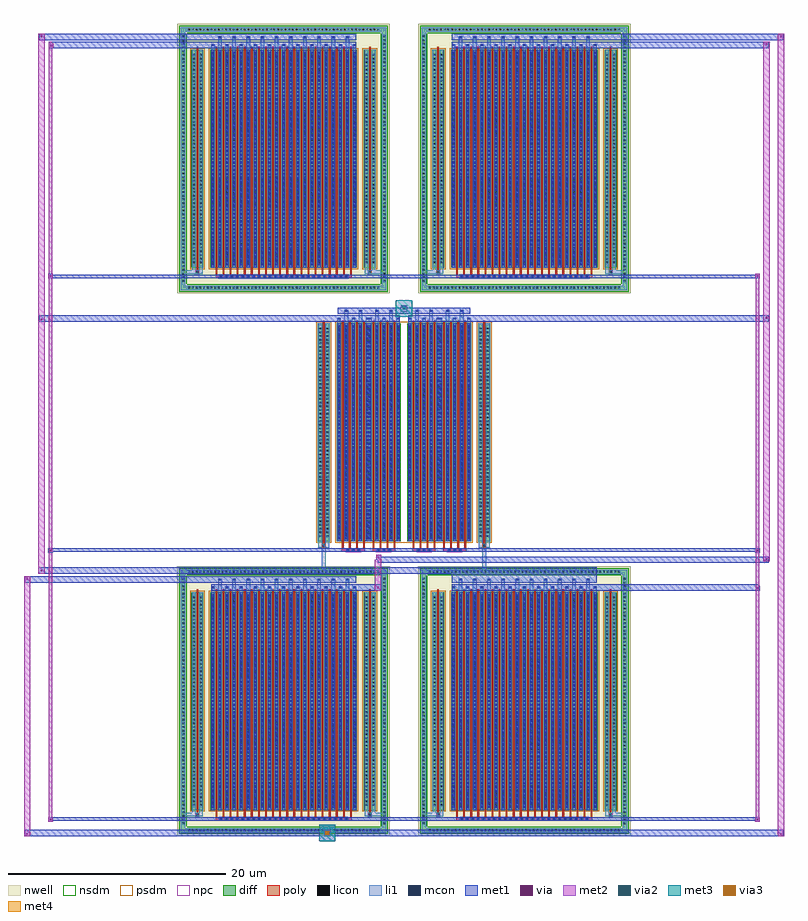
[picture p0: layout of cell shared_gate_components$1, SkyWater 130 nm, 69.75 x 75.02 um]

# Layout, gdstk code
import gdstk
lib = gdstk.Library(unit=1e-6, precision=5e-09)
def R(c, l, rs):  # rectangles x0, y0, x1, y1
    for r in rs: c.add(gdstk.rectangle(r[:2], r[2:], *l))
def A(c, l, x, y, w, h, nx, ny, dx, dy):  # array of equal rectangles
    R(c, l, [(x+i*dx, y+j*dy, x+i*dx+w, y+j*dy+h) for i in range(nx) for j in range(ny)])
def P(c, l, *ps):  # polygons
    for p in ps: c.add(gdstk.Polygon(p, *l))
nwell = (64, 20)
diff = (65, 20)
poly = (66, 20)
licon = (66, 44)
li1 = (67, 20)
mcon = (67, 44)
met1 = (68, 20)
via = (68, 44)
met2 = (69, 20)
via2 = (69, 44)
met3 = (70, 20)
via3 = (70, 44)
met4 = (71, 20)
nsdm = (93, 44)
psdm = (94, 20)
npc = (95, 20)

multiplier_ffe6fe89 = lib.new_cell('multiplier_ffe6fe89')
R(multiplier_ffe6fe89, diff, [(-3.265,-10,-2.165,10), (-1.525,-10,1.525,10)])
A(multiplier_ffe6fe89, poly, -0.665, -10.98, 0.33, 0.33, 3, 1, 0.5, 0)
A(multiplier_ffe6fe89, poly, -1.05, -10.65, 0.15, 0.4, 4, 1, 0.65, 0)
A(multiplier_ffe6fe89, poly, -1.05, -10.25, 0.15, 20.5, 4, 1, 0.65, 0)
R(multiplier_ffe6fe89, poly, [(-1.05,-10.98,1.05,-10.65), (-2.88,-10.58,-2.55,-10.25), (-2.88,-10.58,-2.55,-10.25), (-2.79,-10.25,-2.64,10.25)])
A(multiplier_ffe6fe89, licon, -0.585, -10.9, 0.17, 0.17, 3, 1, 0.5, 0)
A(multiplier_ffe6fe89, licon, -3.125, -9.605, 0.17, 0.17, 1, 57, 0, 0.34)
A(multiplier_ffe6fe89, licon, -2.475, -9.605, 0.17, 0.17, 1, 57, 0, 0.34)
A(multiplier_ffe6fe89, licon, -1.385, -9.605, 0.17, 0.17, 5, 57, 0.65, 0.34)
R(multiplier_ffe6fe89, licon, [(-2.8,-10.5,-2.63,-10.33)])
A(multiplier_ffe6fe89, li1, -0.665, -10.98, 0.33, 0.33, 3, 1, 0.5, 0)
A(multiplier_ffe6fe89, li1, -1.465, -10, 0.33, 20, 5, 1, 0.65, 0)
A(multiplier_ffe6fe89, li1, -1.385, -9.805, 0.17, 0.17, 5, 55, 0.65, 0.36)
A(multiplier_ffe6fe89, li1, -1.385, -9.805, 0.17, 19.61, 5, 1, 0.65, 0)
A(multiplier_ffe6fe89, li1, -3.205, -9.685, 0.33, 0.33, 1, 57, 0, 0.34)
A(multiplier_ffe6fe89, li1, -2.555, -9.685, 0.33, 0.33, 1, 57, 0, 0.34)
A(multiplier_ffe6fe89, li1, -1.465, -9.685, 0.33, 0.33, 5, 57, 0.65, 0.34)
A(multiplier_ffe6fe89, li1, -1.465, 10, 0.33, 0.52, 3, 1, 1.3, 0)
A(multiplier_ffe6fe89, li1, -1.385, 10.35, 0.17, 0.17, 3, 1, 1.3, 0)
R(multiplier_ffe6fe89, li1, [(-3.205,-10.58,-2.88,-10.25), (-3.205,-10.58,-2.875,-10), (-2.88,-10.58,-2.55,-10.25), (-2.555,-10.58,-2.225,-10), (-2.55,-10.58,-2.225,-10.25), (-3.205,-10,-2.875,10), (-2.555,-10,-2.225,10), (-0.815,10,-0.485,11.24), (0.485,10,0.815,11.24), (-0.735,11.07,-0.565,11.24), (0.565,11.07,0.735,11.24)])
A(multiplier_ffe6fe89, mcon, -0.585, -10.9, 0.17, 0.17, 3, 1, 0.5, 0)
A(multiplier_ffe6fe89, mcon, -1.385, -9.805, 0.17, 0.17, 5, 55, 0.65, 0.36)
A(multiplier_ffe6fe89, mcon, -1.385, 10.35, 0.17, 0.17, 3, 1, 1.3, 0)
R(multiplier_ffe6fe89, mcon, [(-0.735,11.07,-0.565,11.24), (0.565,11.07,0.735,11.24)])
A(multiplier_ffe6fe89, met1, -0.645, -10.96, 0.29, 0.29, 3, 1, 0.5, 0)
A(multiplier_ffe6fe89, met1, -1.445, -10, 0.29, 20, 5, 1, 0.65, 0)
A(multiplier_ffe6fe89, met1, -1.445, -9.865, 0.29, 0.29, 5, 55, 0.65, 0.36)
A(multiplier_ffe6fe89, met1, -1.445, 10.29, 0.29, 0.29, 3, 1, 1.3, 0)
R(multiplier_ffe6fe89, met1, [(-1.05,-10.98,1.05,-10.65), (-1.445,10.145,1.445,10.725), (-1.445,10.865,1.445,11.445), (-0.795,11.01,-0.505,11.3), (0.505,11.01,0.795,11.3)])
R(multiplier_ffe6fe89, psdm, [(-3.395,-10.13,-2.035,10.13), (-1.655,-10.13,1.655,10.13)])
A(multiplier_ffe6fe89, npc, -0.685, -11, 0.37, 0.37, 3, 1, 0.5, 0)
R(multiplier_ffe6fe89, npc, [(-0.685,-11,0.185,-10.63), (-0.685,-11,0.185,-10.63), (-0.185,-11,0.685,-10.63), (-0.185,-11,0.685,-10.63), (-2.9,-10.6,-2.53,-10.23)])

multiplier_37b5ae58 = lib.new_cell('multiplier_37b5ae58')
R(multiplier_37b5ae58, diff, [(-1.525,-10,1.525,10)])
A(multiplier_37b5ae58, poly, -0.665, -10.98, 0.33, 0.33, 3, 1, 0.5, 0)
A(multiplier_37b5ae58, poly, -1.05, -10.65, 0.15, 0.4, 4, 1, 0.65, 0)
A(multiplier_37b5ae58, poly, -1.05, -10.25, 0.15, 20.5, 4, 1, 0.65, 0)
R(multiplier_37b5ae58, poly, [(-1.05,-10.98,1.05,-10.65)])
A(multiplier_37b5ae58, licon, -0.585, -10.9, 0.17, 0.17, 3, 1, 0.5, 0)
A(multiplier_37b5ae58, licon, -1.385, -9.605, 0.17, 0.17, 5, 57, 0.65, 0.34)
A(multiplier_37b5ae58, li1, -0.665, -10.98, 0.33, 0.33, 3, 1, 0.5, 0)
A(multiplier_37b5ae58, li1, -1.465, -10, 0.33, 20, 5, 1, 0.65, 0)
A(multiplier_37b5ae58, li1, -1.385, -9.805, 0.17, 0.17, 5, 55, 0.65, 0.36)
A(multiplier_37b5ae58, li1, -1.385, -9.805, 0.17, 19.61, 5, 1, 0.65, 0)
A(multiplier_37b5ae58, li1, -1.465, -9.685, 0.33, 0.33, 5, 57, 0.65, 0.34)
A(multiplier_37b5ae58, li1, -1.465, 10, 0.33, 0.52, 3, 1, 1.3, 0)
A(multiplier_37b5ae58, li1, -1.385, 10.35, 0.17, 0.17, 3, 1, 1.3, 0)
R(multiplier_37b5ae58, li1, [(-0.815,10,-0.485,11.24), (0.485,10,0.815,11.24), (-0.735,11.07,-0.565,11.24), (0.565,11.07,0.735,11.24)])
A(multiplier_37b5ae58, mcon, -0.585, -10.9, 0.17, 0.17, 3, 1, 0.5, 0)
A(multiplier_37b5ae58, mcon, -1.385, -9.805, 0.17, 0.17, 5, 55, 0.65, 0.36)
A(multiplier_37b5ae58, mcon, -1.385, 10.35, 0.17, 0.17, 3, 1, 1.3, 0)
R(multiplier_37b5ae58, mcon, [(-0.735,11.07,-0.565,11.24), (0.565,11.07,0.735,11.24)])
A(multiplier_37b5ae58, met1, -0.645, -10.96, 0.29, 0.29, 3, 1, 0.5, 0)
A(multiplier_37b5ae58, met1, -1.445, -10, 0.29, 20, 5, 1, 0.65, 0)
A(multiplier_37b5ae58, met1, -1.445, -9.865, 0.29, 0.29, 5, 55, 0.65, 0.36)
A(multiplier_37b5ae58, met1, -1.445, 10.29, 0.29, 0.29, 3, 1, 1.3, 0)
R(multiplier_37b5ae58, met1, [(-1.05,-10.98,1.05,-10.65), (-1.445,10.145,1.445,10.725), (-1.445,10.865,1.445,11.445), (-0.795,11.01,-0.505,11.3), (0.505,11.01,0.795,11.3)])
R(multiplier_37b5ae58, psdm, [(-1.655,-10.13,1.655,10.13)])
A(multiplier_37b5ae58, npc, -0.685, -11, 0.37, 0.37, 3, 1, 0.5, 0)
R(multiplier_37b5ae58, npc, [(-0.685,-11,0.185,-10.63), (-0.685,-11,0.185,-10.63), (-0.185,-11,0.685,-10.63), (-0.185,-11,0.685,-10.63)])

multiplier_abaa748f = lib.new_cell('multiplier_abaa748f')
R(multiplier_abaa748f, diff, [(-1.525,-10,1.525,10), (2.165,-10,3.265,10)])
A(multiplier_abaa748f, poly, -0.665, -10.98, 0.33, 0.33, 3, 1, 0.5, 0)
A(multiplier_abaa748f, poly, -1.05, -10.65, 0.15, 0.4, 4, 1, 0.65, 0)
A(multiplier_abaa748f, poly, -1.05, -10.25, 0.15, 20.5, 4, 1, 0.65, 0)
R(multiplier_abaa748f, poly, [(-1.05,-10.98,1.05,-10.65), (2.55,-10.58,2.88,-10.25), (2.55,-10.58,2.88,-10.25), (2.64,-10.25,2.79,10.25)])
A(multiplier_abaa748f, licon, -0.585, -10.9, 0.17, 0.17, 3, 1, 0.5, 0)
A(multiplier_abaa748f, licon, -1.385, -9.605, 0.17, 0.17, 5, 57, 0.65, 0.34)
A(multiplier_abaa748f, licon, 2.305, -9.605, 0.17, 0.17, 1, 57, 0, 0.34)
A(multiplier_abaa748f, licon, 2.955, -9.605, 0.17, 0.17, 1, 57, 0, 0.34)
R(multiplier_abaa748f, licon, [(2.63,-10.5,2.8,-10.33)])
A(multiplier_abaa748f, li1, -0.665, -10.98, 0.33, 0.33, 3, 1, 0.5, 0)
A(multiplier_abaa748f, li1, -1.465, -10, 0.33, 20, 5, 1, 0.65, 0)
A(multiplier_abaa748f, li1, -1.385, -9.805, 0.17, 0.17, 5, 55, 0.65, 0.36)
A(multiplier_abaa748f, li1, -1.385, -9.805, 0.17, 19.61, 5, 1, 0.65, 0)
A(multiplier_abaa748f, li1, -1.465, -9.685, 0.33, 0.33, 5, 57, 0.65, 0.34)
A(multiplier_abaa748f, li1, 2.225, -9.685, 0.33, 0.33, 1, 57, 0, 0.34)
A(multiplier_abaa748f, li1, 2.875, -9.685, 0.33, 0.33, 1, 57, 0, 0.34)
A(multiplier_abaa748f, li1, -1.465, 10, 0.33, 0.52, 3, 1, 1.3, 0)
A(multiplier_abaa748f, li1, -1.385, 10.35, 0.17, 0.17, 3, 1, 1.3, 0)
R(multiplier_abaa748f, li1, [(2.225,-10.58,2.55,-10.25), (2.225,-10.58,2.555,-10), (2.55,-10.58,2.88,-10.25), (2.875,-10.58,3.205,-10), (2.88,-10.58,3.205,-10.25), (2.225,-10,2.555,10), (2.875,-10,3.205,10), (-0.815,10,-0.485,11.24), (0.485,10,0.815,11.24), (-0.735,11.07,-0.565,11.24), (0.565,11.07,0.735,11.24)])
A(multiplier_abaa748f, mcon, -0.585, -10.9, 0.17, 0.17, 3, 1, 0.5, 0)
A(multiplier_abaa748f, mcon, -1.385, -9.805, 0.17, 0.17, 5, 55, 0.65, 0.36)
A(multiplier_abaa748f, mcon, -1.385, 10.35, 0.17, 0.17, 3, 1, 1.3, 0)
R(multiplier_abaa748f, mcon, [(-0.735,11.07,-0.565,11.24), (0.565,11.07,0.735,11.24)])
A(multiplier_abaa748f, met1, -0.645, -10.96, 0.29, 0.29, 3, 1, 0.5, 0)
A(multiplier_abaa748f, met1, -1.445, -10, 0.29, 20, 5, 1, 0.65, 0)
A(multiplier_abaa748f, met1, -1.445, -9.865, 0.29, 0.29, 5, 55, 0.65, 0.36)
A(multiplier_abaa748f, met1, -1.445, 10.29, 0.29, 0.29, 3, 1, 1.3, 0)
R(multiplier_abaa748f, met1, [(-1.05,-10.98,1.05,-10.65), (-1.445,10.145,1.445,10.725), (-1.445,10.865,1.445,11.445), (-0.795,11.01,-0.505,11.3), (0.505,11.01,0.795,11.3)])
R(multiplier_abaa748f, psdm, [(-1.655,-10.13,1.655,10.13), (2.035,-10.13,3.395,10.13)])
A(multiplier_abaa748f, npc, -0.685, -11, 0.37, 0.37, 3, 1, 0.5, 0)
R(multiplier_abaa748f, npc, [(-0.685,-11,0.185,-10.63), (-0.685,-11,0.185,-10.63), (-0.185,-11,0.685,-10.63), (-0.185,-11,0.685,-10.63), (2.53,-10.6,2.9,-10.23)])

unnamed_dc097152_1 = lib.new_cell('Unnamed_dc097152$1')
A(unnamed_dc097152_1, diff, -8.875, -12.065, 0.41, 0.41, 52, 2, 0.34, 23.72)
A(unnamed_dc097152_1, diff, -9.435, -11.425, 0.41, 0.41, 1, 67, 0, 0.34)
A(unnamed_dc097152_1, diff, 9.025, -11.425, 0.41, 0.41, 1, 67, 0, 0.34)
R(unnamed_dc097152_1, diff, [(-8.875,-12.065,8.875,-11.655), (-9.435,-11.425,-9.025,11.425), (9.025,-11.425,9.435,11.425), (-8.875,11.655,8.875,12.065)])
P(unnamed_dc097152_1, diff, [(9.435,12.065),(-9.435,12.065),(-9.435,-11.655),(-9.025,-11.655),(-9.025,11.655),(9.025,11.655),(9.025,-11.655),(-9.025,-11.655),(-9.435,-11.655),(-9.435,-12.065),(9.435,-12.065)])
A(unnamed_dc097152_1, licon, -8.755, -11.945, 0.17, 0.17, 52, 2, 0.34, 23.72)
A(unnamed_dc097152_1, licon, -9.315, -11.305, 0.17, 0.17, 1, 67, 0, 0.34)
A(unnamed_dc097152_1, licon, 9.145, -11.305, 0.17, 0.17, 1, 67, 0, 0.34)
A(unnamed_dc097152_1, li1, -8.835, -12.025, 0.33, 0.33, 52, 2, 0.34, 23.72)
A(unnamed_dc097152_1, li1, -9.395, -11.385, 0.33, 0.33, 1, 67, 0, 0.34)
A(unnamed_dc097152_1, li1, 9.065, -11.385, 0.33, 0.33, 1, 67, 0, 0.34)
R(unnamed_dc097152_1, li1, [(-9.435,-12.065,-9.025,-11.655), (-9.435,-12.065,-9.025,-11.655), (-9.025,-12.065,9.025,-11.655), (9.025,-12.065,9.435,-11.655), (9.025,-12.065,9.435,-11.655), (-9.435,-11.655,-9.025,11.655), (9.025,-11.655,9.435,11.655), (-9.435,11.655,-9.025,12.065), (-9.435,11.655,-9.025,12.065), (-9.025,11.655,9.025,12.065), (9.025,11.655,9.435,12.065), (9.025,11.655,9.435,12.065)])
P(unnamed_dc097152_1, nsdm, [(9.565,12.195),(-9.565,12.195),(-9.565,-11.525),(-8.895,-11.525),(-8.895,11.525),(8.895,11.525),(8.895,-11.525),(-8.895,-11.525),(-9.565,-11.525),(-9.565,-12.195),(9.565,-12.195)])

straight_route_e0b49398 = lib.new_cell('straight_route_e0b49398')
R(straight_route_e0b49398, li1, [(-9.435,-10.58,-8.08,-10.25)])

straight_route_27911fb7 = lib.new_cell('straight_route_27911fb7')
R(straight_route_27911fb7, li1, [(7.75,-10.58,9.435,-10.25)])

unnamed_4ddcab3e = lib.new_cell('Unnamed_4ddcab3e')
R(unnamed_4ddcab3e, nwell, [(-9.745,-12.375,9.745,12.375)])
R(unnamed_4ddcab3e, diff, [(-8.465,-10,-7.365,10), (-6.725,-10,6.725,10), (7.365,-10,8.465,10)])
A(unnamed_4ddcab3e, poly, -5.915, -10.98, 0.33, 0.33, 24, 1, 0.5, 0)
A(unnamed_4ddcab3e, poly, -6.25, -10.65, 0.15, 0.4, 20, 1, 0.65, 0)
A(unnamed_4ddcab3e, poly, -6.25, -10.25, 0.15, 20.5, 20, 1, 0.65, 0)
R(unnamed_4ddcab3e, poly, [(-6.25,-10.98,6.25,-10.65), (-8.08,-10.58,-7.75,-10.25), (-8.08,-10.58,-7.75,-10.25), (7.75,-10.58,8.08,-10.25), (7.75,-10.58,8.08,-10.25), (-7.99,-10.25,-7.84,10.25), (7.84,-10.25,7.99,10.25)])
A(unnamed_4ddcab3e, licon, -5.835, -10.9, 0.17, 0.17, 24, 1, 0.5, 0)
A(unnamed_4ddcab3e, licon, -8.325, -9.605, 0.17, 0.17, 1, 57, 0, 0.34)
A(unnamed_4ddcab3e, licon, -7.675, -9.605, 0.17, 0.17, 1, 57, 0, 0.34)
A(unnamed_4ddcab3e, licon, -6.585, -9.605, 0.17, 0.17, 21, 57, 0.65, 0.34)
A(unnamed_4ddcab3e, licon, 7.505, -9.605, 0.17, 0.17, 1, 57, 0, 0.34)
A(unnamed_4ddcab3e, licon, 8.155, -9.605, 0.17, 0.17, 1, 57, 0, 0.34)
R(unnamed_4ddcab3e, licon, [(-8,-10.5,-7.83,-10.33), (7.83,-10.5,8,-10.33)])
A(unnamed_4ddcab3e, li1, -5.915, -10.98, 0.33, 0.33, 24, 1, 0.5, 0)
A(unnamed_4ddcab3e, li1, -6.665, -10, 0.33, 20, 21, 1, 0.65, 0)
A(unnamed_4ddcab3e, li1, -6.585, -9.805, 0.17, 0.17, 21, 55, 0.65, 0.36)
A(unnamed_4ddcab3e, li1, -6.585, -9.805, 0.17, 19.61, 21, 1, 0.65, 0)
A(unnamed_4ddcab3e, li1, -8.405, -9.685, 0.33, 0.33, 1, 57, 0, 0.34)
A(unnamed_4ddcab3e, li1, -7.755, -9.685, 0.33, 0.33, 1, 57, 0, 0.34)
A(unnamed_4ddcab3e, li1, -6.665, -9.685, 0.33, 0.33, 21, 57, 0.65, 0.34)
A(unnamed_4ddcab3e, li1, 7.425, -9.685, 0.33, 0.33, 1, 57, 0, 0.34)
A(unnamed_4ddcab3e, li1, 8.075, -9.685, 0.33, 0.33, 1, 57, 0, 0.34)
A(unnamed_4ddcab3e, li1, -6.665, 10, 0.33, 0.52, 11, 1, 1.3, 0)
A(unnamed_4ddcab3e, li1, -6.015, 10, 0.33, 1.24, 10, 1, 1.3, 0)
A(unnamed_4ddcab3e, li1, -6.585, 10.35, 0.17, 0.17, 11, 1, 1.3, 0)
A(unnamed_4ddcab3e, li1, -5.935, 11.07, 0.17, 0.17, 10, 1, 1.3, 0)
R(unnamed_4ddcab3e, li1, [(-8.405,-10.58,-8.08,-10.25), (-8.405,-10.58,-8.075,-10), (-8.08,-10.58,-7.75,-10.25), (-7.755,-10.58,-7.425,-10), (-7.75,-10.58,-7.425,-10.25), (7.425,-10.58,7.75,-10.25), (7.425,-10.58,7.755,-10), (7.75,-10.58,8.08,-10.25), (8.075,-10.58,8.405,-10), (8.08,-10.58,8.405,-10.25), (-8.405,-10,-8.075,10), (-7.755,-10,-7.425,10), (7.425,-10,7.755,10), (8.075,-10,8.405,10)])
A(unnamed_4ddcab3e, mcon, -5.835, -10.9, 0.17, 0.17, 24, 1, 0.5, 0)
A(unnamed_4ddcab3e, mcon, -6.585, -9.805, 0.17, 0.17, 21, 55, 0.65, 0.36)
A(unnamed_4ddcab3e, mcon, -6.585, 10.35, 0.17, 0.17, 11, 1, 1.3, 0)
A(unnamed_4ddcab3e, mcon, -5.935, 11.07, 0.17, 0.17, 10, 1, 1.3, 0)
A(unnamed_4ddcab3e, met1, -5.895, -10.96, 0.29, 0.29, 24, 1, 0.5, 0)
A(unnamed_4ddcab3e, met1, -6.645, -10, 0.29, 20, 21, 1, 0.65, 0)
A(unnamed_4ddcab3e, met1, -6.645, -9.865, 0.29, 0.29, 21, 55, 0.65, 0.36)
A(unnamed_4ddcab3e, met1, -6.645, 10.29, 0.29, 0.29, 11, 1, 1.3, 0)
A(unnamed_4ddcab3e, met1, -5.995, 11.01, 0.29, 0.29, 10, 1, 1.3, 0)
R(unnamed_4ddcab3e, met1, [(-6.25,-10.98,6.25,-10.65), (-6.645,10.145,6.645,10.725), (-6.645,10.865,6.645,11.445)])
R(unnamed_4ddcab3e, psdm, [(-8.595,-10.13,-7.235,10.13), (-6.855,-10.13,6.855,10.13), (7.235,-10.13,8.595,10.13)])
A(unnamed_4ddcab3e, npc, -5.935, -11, 0.37, 0.37, 24, 1, 0.5, 0)
R(unnamed_4ddcab3e, npc, [(-5.935,-11,-5.065,-10.63), (-5.935,-11,-5.065,-10.63), (-5.435,-11,-4.565,-10.63), (-5.435,-11,-4.565,-10.63), (-4.935,-11,-4.065,-10.63), (-4.935,-11,-4.065,-10.63), (-4.435,-11,-3.565,-10.63), (-4.435,-11,-3.565,-10.63), (-3.935,-11,-3.065,-10.63), (-3.935,-11,-3.065,-10.63), (-3.435,-11,-2.565,-10.63), (-3.435,-11,-2.565,-10.63), (-2.935,-11,-2.065,-10.63), (-2.935,-11,-2.065,-10.63), (-2.435,-11,-1.565,-10.63), (-2.435,-11,-1.565,-10.63), (-1.935,-11,-1.065,-10.63), (-1.935,-11,-1.065,-10.63), (-1.435,-11,-0.565,-10.63), (-1.435,-11,-0.565,-10.63), (-0.935,-11,-0.065,-10.63), (-0.935,-11,-0.065,-10.63), (-0.435,-11,0.435,-10.63), (-0.435,-11,0.435,-10.63), (0.065,-11,0.935,-10.63), (0.065,-11,0.935,-10.63), (0.565,-11,1.435,-10.63), (0.565,-11,1.435,-10.63), (1.065,-11,1.935,-10.63), (1.065,-11,1.935,-10.63), (1.565,-11,2.435,-10.63), (1.565,-11,2.435,-10.63), (2.065,-11,2.935,-10.63), (2.065,-11,2.935,-10.63), (2.565,-11,3.435,-10.63), (2.565,-11,3.435,-10.63), (3.065,-11,3.935,-10.63), (3.065,-11,3.935,-10.63), (3.565,-11,4.435,-10.63), (3.565,-11,4.435,-10.63), (4.065,-11,4.935,-10.63), (4.065,-11,4.935,-10.63), (4.565,-11,5.435,-10.63), (4.565,-11,5.435,-10.63), (5.065,-11,5.935,-10.63), (5.065,-11,5.935,-10.63), (-8.1,-10.6,-7.73,-10.23), (7.73,-10.6,8.1,-10.23)])
unnamed_4ddcab3e.add(gdstk.Reference(unnamed_dc097152_1, (0,0)))
unnamed_4ddcab3e.add(gdstk.Reference(straight_route_e0b49398, (0,0)))
unnamed_4ddcab3e.add(gdstk.Reference(straight_route_27911fb7, (0,0)))

unnamed_5c7e7c93 = lib.new_cell('Unnamed_5c7e7c93')
R(unnamed_5c7e7c93, nwell, [(-9.745,-12.375,9.745,12.375)])
R(unnamed_5c7e7c93, diff, [(-8.465,-10,-7.365,10), (-6.725,-10,6.725,10), (7.365,-10,8.465,10)])
A(unnamed_5c7e7c93, poly, -5.915, -10.98, 0.33, 0.33, 24, 1, 0.5, 0)
A(unnamed_5c7e7c93, poly, -6.25, -10.65, 0.15, 0.4, 20, 1, 0.65, 0)
A(unnamed_5c7e7c93, poly, -6.25, -10.25, 0.15, 20.5, 20, 1, 0.65, 0)
R(unnamed_5c7e7c93, poly, [(-6.25,-10.98,6.25,-10.65), (-8.08,-10.58,-7.75,-10.25), (-8.08,-10.58,-7.75,-10.25), (7.75,-10.58,8.08,-10.25), (7.75,-10.58,8.08,-10.25), (-7.99,-10.25,-7.84,10.25), (7.84,-10.25,7.99,10.25)])
A(unnamed_5c7e7c93, licon, -5.835, -10.9, 0.17, 0.17, 24, 1, 0.5, 0)
A(unnamed_5c7e7c93, licon, -8.325, -9.605, 0.17, 0.17, 1, 57, 0, 0.34)
A(unnamed_5c7e7c93, licon, -7.675, -9.605, 0.17, 0.17, 1, 57, 0, 0.34)
A(unnamed_5c7e7c93, licon, -6.585, -9.605, 0.17, 0.17, 21, 57, 0.65, 0.34)
A(unnamed_5c7e7c93, licon, 7.505, -9.605, 0.17, 0.17, 1, 57, 0, 0.34)
A(unnamed_5c7e7c93, licon, 8.155, -9.605, 0.17, 0.17, 1, 57, 0, 0.34)
R(unnamed_5c7e7c93, licon, [(-8,-10.5,-7.83,-10.33), (7.83,-10.5,8,-10.33)])
A(unnamed_5c7e7c93, li1, -5.915, -10.98, 0.33, 0.33, 24, 1, 0.5, 0)
A(unnamed_5c7e7c93, li1, -6.665, -10, 0.33, 20, 21, 1, 0.65, 0)
A(unnamed_5c7e7c93, li1, -6.585, -9.805, 0.17, 0.17, 21, 55, 0.65, 0.36)
A(unnamed_5c7e7c93, li1, -6.585, -9.805, 0.17, 19.61, 21, 1, 0.65, 0)
A(unnamed_5c7e7c93, li1, -8.405, -9.685, 0.33, 0.33, 1, 57, 0, 0.34)
A(unnamed_5c7e7c93, li1, -7.755, -9.685, 0.33, 0.33, 1, 57, 0, 0.34)
A(unnamed_5c7e7c93, li1, -6.665, -9.685, 0.33, 0.33, 21, 57, 0.65, 0.34)
A(unnamed_5c7e7c93, li1, 7.425, -9.685, 0.33, 0.33, 1, 57, 0, 0.34)
A(unnamed_5c7e7c93, li1, 8.075, -9.685, 0.33, 0.33, 1, 57, 0, 0.34)
A(unnamed_5c7e7c93, li1, -6.665, 10, 0.33, 0.52, 11, 1, 1.3, 0)
A(unnamed_5c7e7c93, li1, -6.015, 10, 0.33, 1.24, 10, 1, 1.3, 0)
A(unnamed_5c7e7c93, li1, -6.585, 10.35, 0.17, 0.17, 11, 1, 1.3, 0)
A(unnamed_5c7e7c93, li1, -5.935, 11.07, 0.17, 0.17, 10, 1, 1.3, 0)
R(unnamed_5c7e7c93, li1, [(-8.405,-10.58,-8.08,-10.25), (-8.405,-10.58,-8.075,-10), (-8.08,-10.58,-7.75,-10.25), (-7.755,-10.58,-7.425,-10), (-7.75,-10.58,-7.425,-10.25), (7.425,-10.58,7.75,-10.25), (7.425,-10.58,7.755,-10), (7.75,-10.58,8.08,-10.25), (8.075,-10.58,8.405,-10), (8.08,-10.58,8.405,-10.25), (-8.405,-10,-8.075,10), (-7.755,-10,-7.425,10), (7.425,-10,7.755,10), (8.075,-10,8.405,10)])
A(unnamed_5c7e7c93, mcon, -5.835, -10.9, 0.17, 0.17, 24, 1, 0.5, 0)
A(unnamed_5c7e7c93, mcon, -6.585, -9.805, 0.17, 0.17, 21, 55, 0.65, 0.36)
A(unnamed_5c7e7c93, mcon, -6.585, 10.35, 0.17, 0.17, 11, 1, 1.3, 0)
A(unnamed_5c7e7c93, mcon, -5.935, 11.07, 0.17, 0.17, 10, 1, 1.3, 0)
A(unnamed_5c7e7c93, met1, -5.895, -10.96, 0.29, 0.29, 24, 1, 0.5, 0)
A(unnamed_5c7e7c93, met1, -6.645, -10, 0.29, 20, 21, 1, 0.65, 0)
A(unnamed_5c7e7c93, met1, -6.645, -9.865, 0.29, 0.29, 21, 55, 0.65, 0.36)
A(unnamed_5c7e7c93, met1, -6.645, 10.29, 0.29, 0.29, 11, 1, 1.3, 0)
A(unnamed_5c7e7c93, met1, -5.995, 11.01, 0.29, 0.29, 10, 1, 1.3, 0)
R(unnamed_5c7e7c93, met1, [(-6.25,-10.98,6.25,-10.65), (-6.645,10.145,6.645,10.725), (-6.645,10.865,6.645,11.445)])
R(unnamed_5c7e7c93, psdm, [(-8.595,-10.13,-7.235,10.13), (-6.855,-10.13,6.855,10.13), (7.235,-10.13,8.595,10.13)])
A(unnamed_5c7e7c93, npc, -5.935, -11, 0.37, 0.37, 24, 1, 0.5, 0)
R(unnamed_5c7e7c93, npc, [(-5.935,-11,-5.065,-10.63), (-5.935,-11,-5.065,-10.63), (-5.435,-11,-4.565,-10.63), (-5.435,-11,-4.565,-10.63), (-4.935,-11,-4.065,-10.63), (-4.935,-11,-4.065,-10.63), (-4.435,-11,-3.565,-10.63), (-4.435,-11,-3.565,-10.63), (-3.935,-11,-3.065,-10.63), (-3.935,-11,-3.065,-10.63), (-3.435,-11,-2.565,-10.63), (-3.435,-11,-2.565,-10.63), (-2.935,-11,-2.065,-10.63), (-2.935,-11,-2.065,-10.63), (-2.435,-11,-1.565,-10.63), (-2.435,-11,-1.565,-10.63), (-1.935,-11,-1.065,-10.63), (-1.935,-11,-1.065,-10.63), (-1.435,-11,-0.565,-10.63), (-1.435,-11,-0.565,-10.63), (-0.935,-11,-0.065,-10.63), (-0.935,-11,-0.065,-10.63), (-0.435,-11,0.435,-10.63), (-0.435,-11,0.435,-10.63), (0.065,-11,0.935,-10.63), (0.065,-11,0.935,-10.63), (0.565,-11,1.435,-10.63), (0.565,-11,1.435,-10.63), (1.065,-11,1.935,-10.63), (1.065,-11,1.935,-10.63), (1.565,-11,2.435,-10.63), (1.565,-11,2.435,-10.63), (2.065,-11,2.935,-10.63), (2.065,-11,2.935,-10.63), (2.565,-11,3.435,-10.63), (2.565,-11,3.435,-10.63), (3.065,-11,3.935,-10.63), (3.065,-11,3.935,-10.63), (3.565,-11,4.435,-10.63), (3.565,-11,4.435,-10.63), (4.065,-11,4.935,-10.63), (4.065,-11,4.935,-10.63), (4.565,-11,5.435,-10.63), (4.565,-11,5.435,-10.63), (5.065,-11,5.935,-10.63), (5.065,-11,5.935,-10.63), (-8.1,-10.6,-7.73,-10.23), (7.73,-10.6,8.1,-10.23)])
unnamed_5c7e7c93.add(gdstk.Reference(unnamed_dc097152_1, (0,0)))
unnamed_5c7e7c93.add(gdstk.Reference(straight_route_e0b49398, (0,0)))
unnamed_5c7e7c93.add(gdstk.Reference(straight_route_27911fb7, (0,0)))

route_quad_eb604f96 = lib.new_cell('route_quad_eb604f96')
R(route_quad_eb604f96, met1, [(-17.295,-10.98,17.295,-10.65)])

c_2_multiplier_shared_gate = lib.new_cell('2_multiplier_shared_gate_comps$1')
c_2_multiplier_shared_gate.add(gdstk.Reference(unnamed_4ddcab3e, (-11.045,0)))
c_2_multiplier_shared_gate.add(gdstk.Reference(unnamed_5c7e7c93, (11.045,0)))
c_2_multiplier_shared_gate.add(gdstk.Reference(route_quad_eb604f96, (0,0)))

straight_route_d17e89c0 = lib.new_cell('straight_route_d17e89c0')
R(straight_route_d17e89c0, li1, [(-7.53,-13.235,-7.2,-10.47)])

straight_route_9efac55a = lib.new_cell('straight_route_9efac55a')
R(straight_route_9efac55a, li1, [(7.2,-13.235,7.53,-10.47)])

route_quad_aa3bd8a6 = lib.new_cell('route_quad_aa3bd8a6')
R(route_quad_aa3bd8a6, psdm, [(-6.305,-10.35,6.305,9.91)])

route_quad_ca61d6fe = lib.new_cell('route_quad_ca61d6fe')
R(route_quad_ca61d6fe, met1, [(-6.095,9.925,-0.395,10.505)])

route_quad_92acce0b = lib.new_cell('route_quad_92acce0b')
R(route_quad_92acce0b, met1, [(0.395,9.925,6.095,10.505)])

route_quad_8d9dca4c = lib.new_cell('route_quad_8d9dca4c')
R(route_quad_8d9dca4c, met1, [(-6.095,10.645,6.095,11.225)])

via_stack_daa6e7a5_1 = lib.new_cell('via_stack_daa6e7a5$1')
R(via_stack_daa6e7a5_1, met1, [(-0.215,-0.215,0.215,0.215)])
R(via_stack_daa6e7a5_1, via, [(-0.075,-0.075,0.075,0.075)])
R(via_stack_daa6e7a5_1, met2, [(-0.29,-0.29,0.29,0.29)])
R(via_stack_daa6e7a5_1, via2, [(-0.1,-0.1,0.1,0.1)])
R(via_stack_daa6e7a5_1, met3, [(-0.75,-0.75,0.75,0.75)])

route_quad_11ff106b = lib.new_cell('route_quad_11ff106b')
R(route_quad_11ff106b, met1, [(-5.7,-11.2,5.7,-10.87)])

c_route_094e9ee1 = lib.new_cell('c_route_094e9ee1')
R(c_route_094e9ee1, met1, [(-32.665,-35.97,-32.235,-35.54), (-32.665,-35.87,-17.295,-35.54), (-32.665,13.91,-17.295,14.24), (-32.665,13.91,-32.235,14.34)])
R(c_route_094e9ee1, via, [(-32.525,-35.83,-32.375,-35.68), (-32.525,14.05,-32.375,14.2)])
R(c_route_094e9ee1, met2, [(-32.665,-35.97,-32.235,-35.54), (-32.615,-35.97,-32.285,14.34), (-32.285,-35.97,-32.235,-35.54), (-32.615,-35.92,-32.285,-35.59), (-32.665,13.91,-32.235,14.34), (-32.285,13.91,-32.235,14.34), (-32.615,13.96,-32.285,14.29)])

c_route_52e4fd6e = lib.new_cell('c_route_52e4fd6e')
R(c_route_52e4fd6e, met1, [(32.235,-35.97,32.665,-35.54), (17.295,-35.87,32.665,-35.54), (17.295,13.91,32.665,14.24), (32.235,13.91,32.665,14.34)])
R(c_route_52e4fd6e, via, [(32.375,-35.83,32.525,-35.68), (32.375,14.05,32.525,14.2)])
R(c_route_52e4fd6e, met2, [(32.235,-35.97,32.665,-35.54), (32.285,-35.97,32.615,14.34), (32.615,-35.97,32.665,-35.54), (32.285,-35.92,32.615,-35.59), (32.235,13.91,32.665,14.34), (32.615,13.91,32.665,14.34), (32.285,13.96,32.615,14.29)])

straight_route_8a7e4f7d = lib.new_cell('straight_route_8a7e4f7d')
R(straight_route_8a7e4f7d, met1, [(-32.665,-11.3,-32.235,-10.87), (-32.45,-11.2,-5.7,-10.87)])
R(straight_route_8a7e4f7d, via, [(-32.525,-11.16,-32.375,-11.01)])
R(straight_route_8a7e4f7d, met2, [(-32.615,-11.25,-32.285,-10.92)])

straight_route_4690d97e = lib.new_cell('straight_route_4690d97e')
R(straight_route_4690d97e, met1, [(32.235,-11.3,32.665,-10.87), (5.7,-11.2,32.45,-10.87)])
R(straight_route_4690d97e, via, [(32.375,-11.16,32.525,-11.01)])
R(straight_route_4690d97e, met2, [(32.285,-11.25,32.615,-10.92)])

l_route_7e533523 = lib.new_cell('L_route_7e533523')
R(l_route_7e533523, met1, [(-32.615,35.035,-17.69,35.615), (-32.615,35.035,-32.185,35.465), (-32.615,35.035,-32.185,35.465)])
R(l_route_7e533523, via, [(-32.475,35.175,-32.325,35.325)])
R(l_route_7e533523, met2, [(-32.615,14.34,-32.285,35.615), (-32.615,35.035,-32.185,35.465), (-32.565,35.085,-32.235,35.415)])

straight_route_9ce690dd = lib.new_cell('straight_route_9ce690dd')
R(straight_route_9ce690dd, met1, [(17.69,-14.745,32.45,-14.165), (32.235,-14.745,32.665,-14.315)])
R(straight_route_9ce690dd, via, [(32.375,-14.605,32.525,-14.455)])
R(straight_route_9ce690dd, met2, [(32.285,-14.695,32.615,-14.365)])

c_route_9fe03aeb = lib.new_cell('c_route_9fe03aeb')
R(c_route_9fe03aeb, met1, [(-33.495,9.925,-33.065,10.355), (-33.495,9.925,-6.095,10.505), (-33.495,35.755,-17.69,36.335), (-33.495,35.905,-33.065,36.335)])
R(c_route_9fe03aeb, via, [(-33.355,10.065,-33.205,10.215), (-33.355,36.045,-33.205,36.195)])
R(c_route_9fe03aeb, met2, [(-33.57,9.925,-32.99,36.335), (-33.495,9.925,-33.065,10.355), (-33.065,9.925,-32.99,10.355), (-33.445,9.975,-33.115,10.305), (-33.495,35.905,-33.065,36.335), (-33.065,35.905,-32.99,36.335), (-33.445,35.955,-33.115,36.285)])

compass_fa224a45_3 = lib.new_cell('compass_fa224a45$3')
R(compass_fa224a45_3, met1, [(-6.645,-0.29,6.645,0.29)])

unnamed_e12a3778 = lib.new_cell('Unnamed_e12a3778')
unnamed_e12a3778.add(gdstk.Reference(compass_fa224a45_3, (6.645,0.29)))

straight_route_c8d6c907 = lib.new_cell('straight_route_c8d6c907')
R(straight_route_c8d6c907, met1, [(4.4,-13.445,17.69,-13.185)])

l_route_2d012b42 = lib.new_cell('L_route_2d012b42')
R(l_route_2d012b42, met1, [(-33.57,-13.185,4.4,-12.605), (-33.495,-13.11,-33.065,-12.68), (-33.495,-13.11,-33.065,-12.68)])
R(l_route_2d012b42, via, [(-33.355,-12.97,-33.205,-12.82)])
R(l_route_2d012b42, met2, [(-33.57,-13.185,-32.99,-12.605), (-33.57,-13.185,-32.99,9.925), (-33.445,-13.06,-33.115,-12.73)])

c_route_dd980dbf = lib.new_cell('c_route_dd980dbf')
R(c_route_dd980dbf, met1, [(6.095,9.925,33.495,10.505), (33.065,10.075,33.495,10.505), (17.69,35.035,33.495,35.615), (33.065,35.185,33.495,35.615)])
R(c_route_dd980dbf, via, [(33.205,10.215,33.355,10.365), (33.205,35.325,33.355,35.475)])
R(c_route_dd980dbf, met2, [(32.99,10.075,33.57,35.615), (33.065,10.075,33.495,10.505), (33.495,10.075,33.57,10.505), (33.115,10.125,33.445,10.455), (33.065,35.185,33.495,35.615), (33.495,35.185,33.57,35.615), (33.115,35.235,33.445,35.565)])

l_route_90f22266 = lib.new_cell('L_route_90f22266')
R(l_route_90f22266, met1, [(-4.4,-14.745,-2.11,-14.165), (-2.615,-14.67,-2.185,-14.24), (-2.615,-14.67,-2.185,-14.24)])
R(l_route_90f22266, via, [(-2.475,-14.53,-2.325,-14.38)])
R(l_route_90f22266, met2, [(-2.69,-14.745,-2.11,-14.165), (-2.69,-14.745,-2.11,-11.915), (-2.565,-14.62,-2.235,-14.29)])

c_route_f21ef3cf = lib.new_cell('c_route_f21ef3cf')
R(c_route_f21ef3cf, met1, [(-2.4,-12.205,33.495,-11.625), (33.065,-12.055,33.495,-11.625), (6.095,9.925,33.495,10.505), (33.065,10.075,33.495,10.505)])
R(c_route_f21ef3cf, via, [(33.205,-11.915,33.355,-11.765), (33.205,10.215,33.355,10.365)])
R(c_route_f21ef3cf, met2, [(32.99,-12.055,33.57,10.505), (33.065,-12.055,33.495,-11.625), (33.495,-12.055,33.57,-11.625), (33.115,-12.005,33.445,-11.675), (33.065,10.075,33.495,10.505), (33.495,10.075,33.57,10.505), (33.115,10.125,33.445,10.455)])

via_stack_5c4b7883_1 = lib.new_cell('via_stack_5c4b7883$1')
R(via_stack_5c4b7883_1, met1, [(-0.215,-0.215,0.215,0.215)])
R(via_stack_5c4b7883_1, via, [(-0.075,-0.075,0.075,0.075)])
R(via_stack_5c4b7883_1, met2, [(-0.215,-0.215,0.215,0.215), (-0.165,-0.165,0.165,0.165)])

via_stack_c894a9a7_1 = lib.new_cell('via_stack_c894a9a7$1')
R(via_stack_c894a9a7_1, met1, [(-0.75,-0.75,0.75,0.75), (-0.215,-0.215,0.215,0.215)])
R(via_stack_c894a9a7_1, via, [(-0.075,-0.075,0.075,0.075)])
R(via_stack_c894a9a7_1, met2, [(-0.29,-0.29,0.29,0.29)])
R(via_stack_c894a9a7_1, via2, [(-0.1,-0.1,0.1,0.1)])
R(via_stack_c894a9a7_1, met3, [(-0.75,-0.75,0.75,0.75)])
R(via_stack_c894a9a7_1, via3, [(-0.1,-0.1,0.1,0.1)])
R(via_stack_c894a9a7_1, met4, [(-0.17,-0.17,0.17,0.17)])

c_route_f5fa5478 = lib.new_cell('c_route_f5fa5478')
R(c_route_f5fa5478, met1, [(-6.295,-37.29,34.8,-36.71), (34.37,-37.29,34.8,-36.86), (17.69,35.755,34.8,36.335), (34.37,35.905,34.8,36.335)])
R(c_route_f5fa5478, via, [(34.51,-37.15,34.66,-37), (34.51,36.045,34.66,36.195)])
R(c_route_f5fa5478, met2, [(34.295,-37.29,34.875,36.335), (34.37,-37.29,34.8,-36.86), (34.8,-37.29,34.875,-36.86), (34.42,-37.24,34.75,-36.91), (34.37,35.905,34.8,36.335), (34.8,35.905,34.875,36.335), (34.42,35.955,34.75,36.285)])

c_route_72c43776 = lib.new_cell('c_route_72c43776')
R(c_route_72c43776, met1, [(-34.8,-37.29,-34.37,-36.86), (-34.8,-37.29,-7.795,-36.71), (-34.8,-14.025,-17.69,-13.445), (-34.8,-13.875,-34.37,-13.445)])
R(c_route_72c43776, via, [(-34.66,-37.15,-34.51,-37), (-34.66,-13.735,-34.51,-13.585)])
R(c_route_72c43776, met2, [(-34.875,-37.29,-34.295,-13.445), (-34.8,-37.29,-34.37,-36.86), (-34.37,-37.29,-34.295,-36.86), (-34.75,-37.24,-34.42,-36.91), (-34.8,-13.875,-34.37,-13.445), (-34.37,-13.875,-34.295,-13.445), (-34.75,-13.825,-34.42,-13.495)])

shared_gate_components_1 = lib.new_cell('shared_gate_components$1')
shared_gate_components_1.add(gdstk.Reference(multiplier_ffe6fe89, (-4.65,-0.22)))
shared_gate_components_1.add(gdstk.Reference(multiplier_37b5ae58, (-1.84,-0.22)))
shared_gate_components_1.add(gdstk.Reference(multiplier_37b5ae58, (1.84,-0.22)))
shared_gate_components_1.add(gdstk.Reference(multiplier_abaa748f, (4.65,-0.22)))
shared_gate_components_1.add(gdstk.Reference(c_2_multiplier_shared_gate, (0,24.89)))
shared_gate_components_1.add(gdstk.Reference(c_2_multiplier_shared_gate, (0,-24.89)))
shared_gate_components_1.add(gdstk.Reference(straight_route_d17e89c0, (0,0)))
shared_gate_components_1.add(gdstk.Reference(straight_route_9efac55a, (0,0)))
shared_gate_components_1.add(gdstk.Reference(route_quad_aa3bd8a6, (0,0)))
shared_gate_components_1.add(gdstk.Reference(route_quad_ca61d6fe, (0,0)))
shared_gate_components_1.add(gdstk.Reference(route_quad_92acce0b, (0,0)))
shared_gate_components_1.add(gdstk.Reference(route_quad_8d9dca4c, (0,0)))
shared_gate_components_1.add(gdstk.Reference(via_stack_daa6e7a5_1, (0,11.15)))
shared_gate_components_1.add(gdstk.Reference(route_quad_11ff106b, (0,0)))
shared_gate_components_1.add(gdstk.Reference(c_route_094e9ee1, (0,0)))
shared_gate_components_1.add(gdstk.Reference(c_route_52e4fd6e, (0,0)))
shared_gate_components_1.add(gdstk.Reference(straight_route_8a7e4f7d, (0,0)))
shared_gate_components_1.add(gdstk.Reference(straight_route_4690d97e, (0,0)))
shared_gate_components_1.add(gdstk.Reference(l_route_7e533523, (0,0)))
shared_gate_components_1.add(gdstk.Reference(straight_route_9ce690dd, (0,0)))
shared_gate_components_1.add(gdstk.Reference(c_route_9fe03aeb, (0,0)))
shared_gate_components_1.add(gdstk.Reference(unnamed_e12a3778, (4.4,-13.185)))
shared_gate_components_1.add(gdstk.Reference(straight_route_c8d6c907, (0,0)))
shared_gate_components_1.add(gdstk.Reference(l_route_2d012b42, (0,0)))
shared_gate_components_1.add(gdstk.Reference(c_route_dd980dbf, (0,0)))
shared_gate_components_1.add(gdstk.Reference(l_route_90f22266, (0,0)))
shared_gate_components_1.add(gdstk.Reference(c_route_f21ef3cf, (0,0)))
shared_gate_components_1.add(gdstk.Reference(via_stack_5c4b7883_1, (-2.325,-11.7)))
shared_gate_components_1.add(gdstk.Reference(via_stack_c894a9a7_1, (-7.045,-37)))
shared_gate_components_1.add(gdstk.Reference(c_route_f5fa5478, (0,0)))
shared_gate_components_1.add(gdstk.Reference(c_route_72c43776, (0,0)))

lib.write_gds('shared_gate_components_1.gds')
